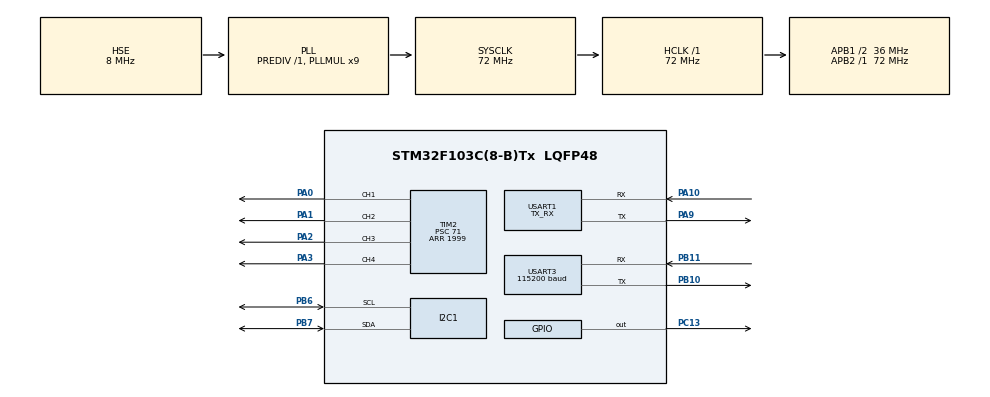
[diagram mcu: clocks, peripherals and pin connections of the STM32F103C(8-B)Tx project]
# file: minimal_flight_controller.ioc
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Dma.Request0=USART1_RX
Dma.Request1=USART3_TX
Dma.USART1_RX.0.Direction=DMA_PERIPH_TO_MEMORY
Dma.USART1_RX.0.Instance=DMA1_Channel5
Dma.USART1_RX.0.MemDataAlignment=DMA_MDATAALIGN_BYTE
Dma.USART1_RX.0.MemInc=DMA_MINC_ENABLE
Dma.USART1_RX.0.Mode=DMA_NORMAL
Dma.USART1_RX.0.PeriphDataAlignment=DMA_PDATAALIGN_BYTE
Dma.USART1_RX.0.PeriphInc=DMA_PINC_DISABLE
Dma.USART1_RX.0.Priority=DMA_PRIORITY_LOW
Dma.USART3_TX.1.Direction=DMA_MEMORY_TO_PERIPH
Dma.USART3_TX.1.Instance=DMA1_Channel2
Dma.USART3_TX.1.MemDataAlignment=DMA_MDATAALIGN_BYTE
Dma.USART3_TX.1.MemInc=DMA_MINC_ENABLE
Dma.USART3_TX.1.Mode=DMA_NORMAL
Dma.USART3_TX.1.PeriphDataAlignment=DMA_PDATAALIGN_BYTE
Dma.USART3_TX.1.PeriphInc=DMA_PINC_DISABLE
Dma.USART3_TX.1.Priority=DMA_PRIORITY_LOW
I2C1.I2C_Mode=I2C_Fast
Mcu.Family=STM32F1
Mcu.Name=STM32F103C(8-B)Tx
Mcu.Package=LQFP48
NVIC.DMA1_Channel2_IRQn=true\:0\:0\:false\:false\:true\:false\:true
NVIC.DMA1_Channel5_IRQn=true\:0\:0\:false\:false\:true\:false\:true
NVIC.PriorityGroup=NVIC_PRIORITYGROUP_4
NVIC.USART1_IRQn=true\:0\:0\:false\:false\:true\:true\:true
NVIC.USART3_IRQn=true\:0\:0\:false\:false\:true\:true\:true
PA0-WKUP.Signal=S_TIM2_CH1_ETR
PA1.Signal=S_TIM2_CH2
PA10.Mode=Asynchronous
PA10.Signal=USART1_RX
PA13.Mode=Serial_Wire
PA13.Signal=SYS_JTMS-SWDIO
PA14.Mode=Serial_Wire
PA14.Signal=SYS_JTCK-SWCLK
PA2.Signal=S_TIM2_CH3
PA3.Signal=S_TIM2_CH4
PA9.Mode=Asynchronous
PA9.Signal=USART1_TX
PB10.Mode=Asynchronous
PB10.Signal=USART3_TX
PB11.Mode=Asynchronous
PB11.Signal=USART3_RX
PB6.Mode=I2C
PB6.Signal=I2C1_SCL
PB7.Mode=I2C
PB7.Signal=I2C1_SDA
PC13-TAMPER-RTC.GPIO_PuPd=GPIO_PULLUP
PC13-TAMPER-RTC.Signal=GPIO_Output
PD0-OSC_IN.Mode=HSE-External-Oscillator
PD0-OSC_IN.Signal=RCC_OSC_IN
PD1-OSC_OUT.Mode=HSE-External-Oscillator
PD1-OSC_OUT.Signal=RCC_OSC_OUT
ProjectManager.HeapSize=0x200
ProjectManager.StackSize=0x400
ProjectManager.TargetToolchain=STM32CubeIDE
RCC.AHBFreq_Value=72000000
RCC.APB1CLKDivider=RCC_HCLK_DIV2
RCC.APB1Freq_Value=36000000
RCC.APB1TimFreq_Value=72000000
RCC.APB2Freq_Value=72000000
RCC.APB2TimFreq_Value=72000000
RCC.HCLKFreq_Value=72000000
RCC.PLLMUL=RCC_PLL_MUL9
RCC.PLLSourceVirtual=RCC_PLLSOURCE_HSE
RCC.SYSCLKFreq_VALUE=72000000
RCC.SYSCLKSource=RCC_SYSCLKSOURCE_PLLCLK
RCC.USBFreq_Value=72000000
SH.S_TIM2_CH1_ETR.0=TIM2_CH1,PWM Generation1 CH1
SH.S_TIM2_CH2.0=TIM2_CH2,PWM Generation2 CH2
SH.S_TIM2_CH3.0=TIM2_CH3,PWM Generation3 CH3
SH.S_TIM2_CH4.0=TIM2_CH4,PWM Generation4 CH4
TIM2.Channel-PWM\ Generation1\ CH1=TIM_CHANNEL_1
TIM2.Channel-PWM\ Generation2\ CH2=TIM_CHANNEL_2
TIM2.Channel-PWM\ Generation3\ CH3=TIM_CHANNEL_3
TIM2.Channel-PWM\ Generation4\ CH4=TIM_CHANNEL_4
TIM2.Period=1999
TIM2.Prescaler=71
USART1.Mode=MODE_TX_RX
USART1.StopBits=STOPBITS_2
USART1.VirtualMode=VM_ASYNC
USART3.BaudRate=115200
USART3.Parity=PARITY_NONE
USART3.VirtualMode=VM_ASYNC
VP_TIM2_VS_ClockSourceINT.Mode=Internal
board=custom

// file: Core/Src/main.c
/* USER CODE BEGIN Header */
/**
 ******************************************************************************
 * @file           : main.c
 * @brief          : Main program body
 ******************************************************************************
 * @attention
 *
 * <h2><center>&copy; Copyright (c) 2021 STMicroelectronics.
 * All rights reserved.</center></h2>
 *
 * This software component is licensed by ST under BSD 3-Clause license,
 * the "License"; You may not use this file except in compliance with the
 * License. You may obtain a copy of the License at:
 *                        opensource.org/licenses/BSD-3-Clause
 *
 ******************************************************************************
 */
/* USER CODE END Header */
#include "main.h"
#include "dma.h"
#include "i2c.h"
#include "tim.h"
#include "usart.h"
#include "gpio.h"

/* USER CODE BEGIN Includes */
#include "motor.h"
#include "remote_controller.h"
#include "mpu6050.h"
#include "gps.h"
#include "oled.h"
#include "pid.h"
#include "utils.h"
#include "logger.h"
#include "lpf.h"
#include <stdio.h>
#include <math.h>
/* USER CODE END Includes */

void SystemClock_Config(void);

/* USER CODE BEGIN 0 */

uint32_t motor_speed[] = { 1000, 1000, 1000, 1000 };
char log_buffer[512];

static inline uint32_t LL_SYSTICK_IsActiveCounterFlag(void) {
	return ((SysTick->CTRL & SysTick_CTRL_COUNTFLAG_Msk)
			== (SysTick_CTRL_COUNTFLAG_Msk));
}

uint32_t getCurrentMicros(void) {
	/* Ensure COUNTFLAG is reset by reading SysTick control and status register */
	LL_SYSTICK_IsActiveCounterFlag();
	uint32_t m = HAL_GetTick();
	const uint32_t tms = SysTick->LOAD + 1;
	__IO uint32_t u = tms - SysTick->VAL;
	if (LL_SYSTICK_IsActiveCounterFlag()) {
		m = HAL_GetTick();
		u = tms - SysTick->VAL;
	}
	return (m * 1000 + (u * 1000) / tms);
}
/* USER CODE END 0 */

int main(void) {

	/* MCU Configuration--------------------------------------------------------*/

	/* Reset of all peripherals, Initializes the Flash interface and the Systick. */
	HAL_Init();

	/* Configure the system clock */
	SystemClock_Config();

	/* Initialize all configured peripherals */
	MX_GPIO_Init();
	MX_DMA_Init();
	MX_I2C1_Init();
	MX_USART1_UART_Init();
	MX_TIM2_Init();
	MX_USART3_UART_Init();
	/* USER CODE BEGIN 2 */

	HAL_GPIO_WritePin(GPIOC, GPIO_PIN_13, GPIO_PIN_RESET);
	motor_init();
	HAL_Delay(5000);

	uint8_t init_res = mpu6050_init();

	if (init_res != HAL_OK) {
		led_flash_forever(1);
	}
	HAL_GPIO_WritePin(GPIOC, GPIO_PIN_13, GPIO_PIN_SET);

	/* USER CODE END 2 */

	/* Infinite loop */
	/* USER CODE BEGIN WHILE */

	logger_reset();
	uint32_t logger_index = 0;
	uint32_t prev_us = getCurrentMicros();

	FirstOrderLPF pitch_lpf, roll_lpf, yaw_lpf;
	lpf_first_order_init(&pitch_lpf);
	lpf_first_order_init(&roll_lpf);
	lpf_first_order_init(&yaw_lpf);
	mpu6050_attitude_reset();

	uint32_t unlock_cnt = 0;

	float target_yaw = 0.0f;

	while (1) {
		/* USER CODE END WHILE */
		/* USER CODE BEGIN 3 */
		remote_update();
		RCInfo rc_info = remoter_get_info();

		if (rc_info.channel[4] < 1500) {
			// LOCKED
			motor_speed[0] = motor_speed[1] = motor_speed[2] = motor_speed[3] = 1000;
			motor_set_speeds(motor_speed);
			pid_init();
			lpf_first_order_init(&pitch_lpf);
			lpf_first_order_init(&roll_lpf);
			lpf_first_order_init(&yaw_lpf);
			mpu6050_attitude_reset();
			unlock_cnt = 0;

			target_yaw = 0.0f;
		} else {
			// UNLOCK
			const uint32_t UNLOCK_DELAY = 500;
			// SAFETY CONSIDERATION
			unlock_cnt += 1;
			if (unlock_cnt < UNLOCK_DELAY) { // delay 1s
				motor_speed[0] = motor_speed[1] = motor_speed[2] = motor_speed[3] = 1000;
				motor_set_speeds(motor_speed);
				continue;
			} else {
				unlock_cnt = UNLOCK_DELAY;
			}
			// UNLOCK THE FLIGHT

			uint32_t now_us = getCurrentMicros();
			// the control loop runs on 500 Hz
			if (now_us - prev_us < 2000) {
				continue;
			}

			Attitude now_attitude = mpu6050_attitude_estimate();

			now_attitude.pitch = lpf_first_order_get_value(&pitch_lpf, now_attitude.pitch);
			now_attitude.roll = lpf_first_order_get_value(&roll_lpf, now_attitude.roll);
			now_attitude.yaw = lpf_first_order_get_value(&yaw_lpf, now_attitude.yaw);

			RCAttitude target_attitude = remote_get_attitude(&rc_info);

			// set base throttle
			for (int i = 0; i < 4; ++i) {
				motor_speed[i] = rc_info.channel[2];
			}

			// update pitch_control
			float pitch_control = pid_update_pitch(now_attitude.pitch, target_attitude.pitch);
			int32_t pitch_control_input = roundf(pitch_control);
			motor_speed[1] += pitch_control_input;
			motor_speed[3] += pitch_control_input;
			motor_speed[0] -= pitch_control_input;
			motor_speed[2] -= pitch_control_input;

			// update roll_control
			float roll_control = pid_update_roll(now_attitude.roll, target_attitude.roll);
			int32_t roll_control_input = roundf(roll_control);
			motor_speed[2] += roll_control_input;
			motor_speed[3] += roll_control_input;
			motor_speed[0] -= roll_control_input;
			motor_speed[1] -= roll_control_input;

			// update yaw_control
			target_yaw -= target_attitude.yaw * 2e-3;
			float yaw_control = pid_update_yaw(now_attitude.yaw, target_yaw);
			int32_t yaw_control_input = roundf(yaw_control);

			motor_speed[0] += yaw_control_input;
			motor_speed[3] += yaw_control_input;
			motor_speed[1] -= yaw_control_input;
			motor_speed[2] -= yaw_control_input;

			for (int i = 0; i < 4; ++i) {
				motor_speed[i] = clip(motor_speed[i], 1000, 2000);
				if (motor_speed[i] < 1050) motor_speed[i] = 1000;
			}
			motor_set_speeds(motor_speed);

			prev_us = now_us;
			// logger
			logger_index += 1;
			if (logger_index == 20) {
//				sprintf(log_buffer,
//						"%lu,%f,%f,%f,%f,%f,%f,%f,%f,%f\n", now_us,
//						g_pitch_p_out, g_pitch_i_out, g_pitch_d_out,
//						g_roll_p_put, g_roll_i_out, g_roll_d_out,
//						g_yaw_p_out, g_yaw_i_out, g_yaw_d_out);
				sprintf(log_buffer, "%lu,%lu,%lu,%lu,%lu,%f,%f,%f,%f,%f,%f\n",
						now_us,
						motor_speed[0],
						motor_speed[1],
						motor_speed[2],
						motor_speed[3],
						now_attitude.pitch,
						now_attitude.roll,
						now_attitude.yaw,
						target_attitude.pitch,
						target_attitude.roll,
						target_yaw);
				logger_log(log_buffer);
				logger_index = 0;
			}
		}
	}
	/* USER CODE END 3 */
}

void SystemClock_Config(void) {
	RCC_OscInitTypeDef RCC_OscInitStruct = { 0 };
	RCC_ClkInitTypeDef RCC_ClkInitStruct = { 0 };

	/** Initializes the RCC Oscillators according to the specified parameters
	 * in the RCC_OscInitTypeDef structure.
	 */
	RCC_OscInitStruct.OscillatorType = RCC_OSCILLATORTYPE_HSE;
	RCC_OscInitStruct.HSEState = RCC_HSE_ON;
	RCC_OscInitStruct.HSEPredivValue = RCC_HSE_PREDIV_DIV1;
	RCC_OscInitStruct.HSIState = RCC_HSI_ON;
	RCC_OscInitStruct.PLL.PLLState = RCC_PLL_ON;
	RCC_OscInitStruct.PLL.PLLSource = RCC_PLLSOURCE_HSE;
	RCC_OscInitStruct.PLL.PLLMUL = RCC_PLL_MUL9;
	if (HAL_RCC_OscConfig(&RCC_OscInitStruct) != HAL_OK) {
		Error_Handler();
	}
	/** Initializes the CPU, AHB and APB buses clocks
	 */
	RCC_ClkInitStruct.ClockType = RCC_CLOCKTYPE_HCLK | RCC_CLOCKTYPE_SYSCLK
			| RCC_CLOCKTYPE_PCLK1 | RCC_CLOCKTYPE_PCLK2;
	RCC_ClkInitStruct.SYSCLKSource = RCC_SYSCLKSOURCE_PLLCLK;
	RCC_ClkInitStruct.AHBCLKDivider = RCC_SYSCLK_DIV1;
	RCC_ClkInitStruct.APB1CLKDivider = RCC_HCLK_DIV2;
	RCC_ClkInitStruct.APB2CLKDivider = RCC_HCLK_DIV1;

	if (HAL_RCC_ClockConfig(&RCC_ClkInitStruct, FLASH_LATENCY_2) != HAL_OK) {
		Error_Handler();
	}
}

void Error_Handler(void) {
	__disable_irq();
	while (1) {
	}
}

/************************ (C) COPYRIGHT STMicroelectronics *****END OF FILE****/
